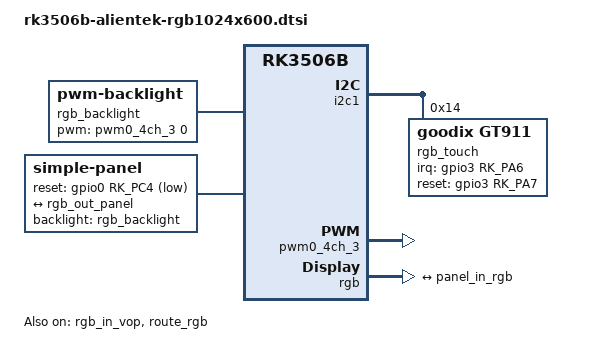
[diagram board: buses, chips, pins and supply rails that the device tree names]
#include <dt-bindings/display/media-bus-format.h>
// 由于正点原子RK3506B的mipi接口在核心板上，所以rgb背光和复位io是无法与mipi使用同一组了，RK3506B默认底板无rgb接口，参考07、硬件资料/08、ATK-DLRK3506B RGB888方案转接板
// 并且由于io复用，见本设备树最后，将部分设备设置为"disabled", 因为这部分是rgb使用过的io。
/ {
    rgb_backlight: rgb-backlight {
        compatible = "pwm-backlight";
        pwms = <&pwm0_4ch_3 0 25000 0>;
        brightness-levels = <
                0  20  20  21  21  22  22  23
                23  24  24  25  25  26  26  27
                27  28  28  29  29  30  30  31
                31  32  32  33  33  34  34  35
                35  36  36  37  37  38  38  39
                40  41  42  43  44  45  46  47
                48  49  50  51  52  53  54  55
                56  57  58  59  60  61  62  63
                64  65  66  67  68  69  70  71
                72  73  74  75  76  77  78  79
                80  81  82  83  84  85  86  87
                88  89  90  91  92  93  94  95
                96  97  98  99 100 101 102 103
                104 105 106 107 108 109 110 111
                112 113 114 115 116 117 118 119
                120 121 122 123 124 125 126 127
                128 129 130 131 132 133 134 135
                136 137 138 139 140 141 142 143
                144 145 146 147 148 149 150 151
                152 153 154 155 156 157 158 159
                160 161 162 163 164 165 166 167
                168 169 170 171 172 173 174 175
                176 177 178 179 180 181 182 183
                184 185 186 187 188 189 190 191
                192 193 194 195 196 197 198 199
                200 201 202 203 204 205 206 207
                208 209 210 211 212 213 214 215
                216 217 218 219 220 221 222 223
                224 225 226 227 228 229 230 231
                232 233 234 235 236 237 238 239
                240 241 242 243 244 245 246 247
                248 249 250 251 252 253 254 255
            >;
        default-brightness-level = <200>;
        status = "okay";   
    };

    panel: panel {
        compatible = "simple-panel";
        bus-format = <MEDIA_BUS_FMT_RGB888_1X24>;
        backlight = <&rgb_backlight>;
        reset-gpios = <&gpio0 RK_PC4 GPIO_ACTIVE_LOW>;
        reset-delay-ms = <10>;
        status = "okay";

        display-timings {
            native-mode = <&rgb_time0>;
            rgb_time0: timing0 {
                clock-frequency = <51000000>;
                hactive = <1024>;
                vactive = <600>;
                hfront-porch = <160>;
                hback-porch = <140>;
                hsync-len = <20>;
                vback-porch = <20>;
                vfront-porch = <12>;
                vsync-len = <3>;

                hsync-active = <0>;
                vsync-active = <0>;
                de-active = <1>;
                pixelclk-active = <0>;
            };
        };

        port {
            panel_in_rgb: endpoint {
                remote-endpoint = <&rgb_out_panel>;
            };
        };
    };
};

// =======================================================================================
// I2C1 控制器配置
// =======================================================================================
// 说明：
// 1. 核心原因：I2C2 已被核心板占用，因此改用 I2C1 连接外部触摸屏
// 2. 引脚变更：I2C1 的 SCL/SDA 原为RM_IO24/RM_IO25（即gpio1-9 gpio1-10为RGB888使用的IO）
// 3. 中断/复位引脚调整：从原 GPIO0 PA6/PA7(核心板上)改为 GPIO3_PA6/PA7
// =======================================================================================
&i2c1 {
    status = "okay";
	pinctrl-names = "default";
	pinctrl-0 = <&rm_io4_i2c1_scl
		     &rm_io5_i2c1_sda>;

    rgb_touch: gt911@14 {
                compatible = "goodix,gt911";
                reg = <0x14>;
                pinctrl-names = "default";
                pinctrl-0 = <&touch2_gpio>;
                interrupt-parent = <&gpio3>;
                interrupts = <RK_PA6 IRQ_TYPE_LEVEL_LOW>;
                irq-gpios = <&gpio3 RK_PA6 IRQ_TYPE_LEVEL_LOW>;
                reset-gpios = <&gpio3 RK_PA7 GPIO_ACTIVE_HIGH>;
                wakeup-source;
                //touchscreen-inverted-x;
                //touchscreen-swapped-x-y;
                status = "okay";
        };
};

&pinctrl {
    touch2 {
                touch2_gpio: touch2-gpio {
                        rockchip,pins = <3 RK_PA6 RK_FUNC_GPIO &pcfg_pull_none>,
                                        <3 RK_PA7 RK_FUNC_GPIO &pcfg_pull_up>;
                };
        };
};

&pwm0_4ch_3 {   //GPIO0_0 backlight
	pinctrl-names = "active";
	pinctrl-0 = <&rm_io0_pwm0_ch3>;
	status = "okay";
};

&rgb {
	status = "okay";
	pinctrl-names = "default";
	pinctrl-0 = <&rgb888_pins>;
	ports {
		rgb_out: port@1 {
			reg = <1>;
			#address-cells = <1>;
			#size-cells = <0>;

			rgb_out_panel: endpoint@0 {
				reg = <0>;
				remote-endpoint = <&panel_in_rgb>;
			};
		};
	};

};

&rgb_in_vop {
	status = "okay";
};

&route_rgb {
    status = "okay";
};

&vop_out_dsi {
        /delete-property/ remote-endpoint;
};

// gpio1-18
&uart2 {
    status = "disabled";
};

// gpio0-0
&gmac0 {
    status = "disabled";
};
